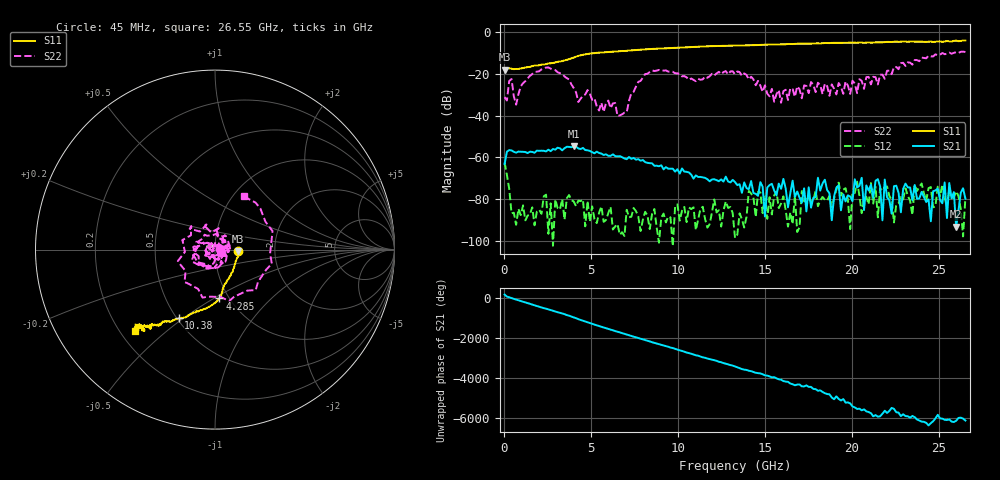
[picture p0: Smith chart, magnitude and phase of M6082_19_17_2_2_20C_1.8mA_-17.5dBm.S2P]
!  2-Port S-parameters saved by WinCal
! VAR MeasName=S-Parameters (CALIBRATED_DATA) read from VNA (C)
! VAR MeasDate=9/29/2015 4:35:10 PM
! VAR NAME=M6082_19_17_2_2_20C_1.8mA_-17.5dBm
! VAR FILENAME=M6082_19_17_2_2_20C_1.8mA_-17.5dBm.S2P
! VAR DATE=9/29/2015 4:35:10 PM
! VAR PHYS_PORTS=2,1
! VAR ObjTypeName=DATASET
! VAR IndexType=Frequency
# Hz S RI R 50
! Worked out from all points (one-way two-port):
!   201 points, 45 MHz to 26.55 GHz, reference 50 ohm
!   highest |S21| = -54.72 dB at 4.02 GHz (marker M1); lowest = -93.3 dB at 26.02 GHz (marker M2)
!   lowest |S11| = -17.8 dB at 45 MHz (marker M3), VSWR 1.29, Z = 64.6 - j1.23 ohm
!   |S11| at or under -10 dB: start of sweep to 5.147 GHz
!   |S22| runs from -40.2 to -9.2 dB; largest |S21 - S12| = 0.0019
!   S11 on the Smith chart (normalised r, x): 45 MHz: 1.29, -0.02; 4.285 GHz: 0.90, -0.53; 10.38 GHz: 0.51, -0.48; 26.55 GHz: 0.26, -0.39
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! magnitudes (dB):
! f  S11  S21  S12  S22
! 45 MHz  -17.8  -63.2  -62.5  -31.1
! 442.5 MHz  -17.5  -56.7  -86.8  -22.4
! 707.5 MHz  -17.6  -57.7  -92.3  -34.7
! 2.43 GHz  -15.3  -57.1  -77.9  -16.9
! 4.02 GHz  -12.1  -54.7  -81.2  -26.7
! 4.285 GHz  -11.3  -55.7  -80.7  -33.4
! 4.55 GHz  -10.8  -55.4  -80.2  -30.3
! 6.67 GHz  -9.0  -59.4  -97.1  -39.9
! 8.922 GHz  -7.8  -64.2  -100.9  -18.0
! 10.38 GHz  -7.3  -66.8  -83.8  -21.0
! 13.29 GHz  -6.3  -71.8  -98.6  -20.1
! 15.95 GHz  -5.7  -75.1  -82.1  -33.8
! 17.8 GHz  -5.4  -79.4  -80.7  -25.1
! 18.07 GHz  -5.3  -69.8  -83.4  -24.2
! 18.86 GHz  -5.1  -90.1  -83.9  -25.0
! 20.32 GHz  -5.0  -74.4  -71.7  -29.2
! 20.58 GHz  -4.9  -69.8  -86.8  -23.3
! 20.71 GHz  -5.0  -85.3  -79.2  -27.1
! 21.51 GHz  -4.8  -70.4  -88.8  -25.0
! 22.17 GHz  -4.6  -80.6  -78.5  -18.4
! 26.02 GHz  -4.0  -93.3  -76.3  -9.5
! 26.55 GHz  -3.9  -79.8  -79.3  -9.5
